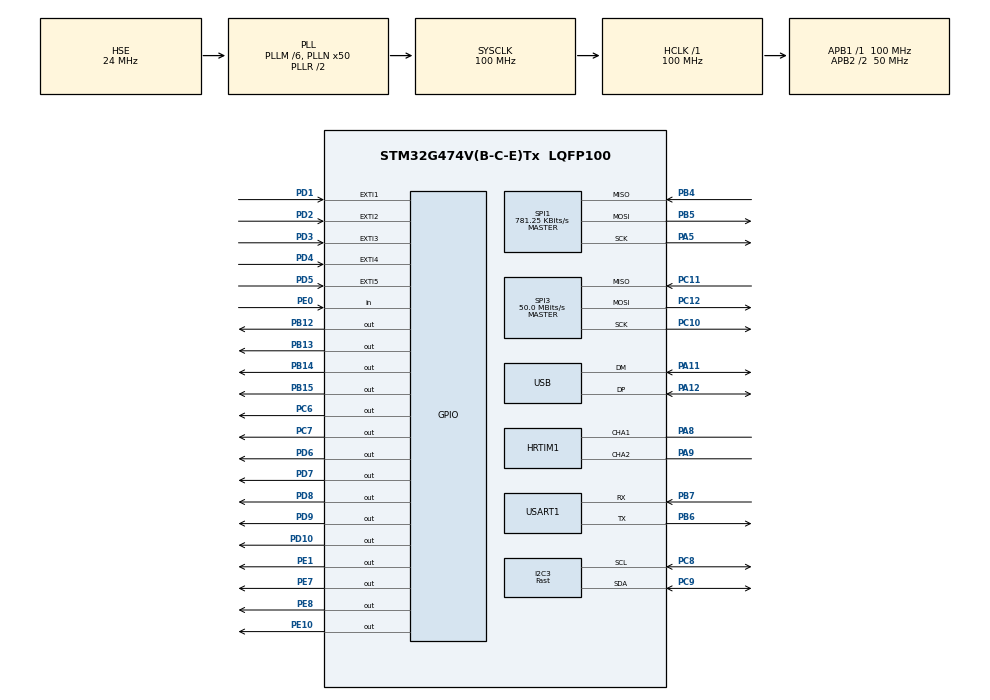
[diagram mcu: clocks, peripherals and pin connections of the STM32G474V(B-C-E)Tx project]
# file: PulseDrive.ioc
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Dma.I2C3_RX.0.Direction=DMA_PERIPH_TO_MEMORY
Dma.I2C3_RX.0.EventEnable=DISABLE
Dma.I2C3_RX.0.Instance=DMA1_Channel1
Dma.I2C3_RX.0.MemDataAlignment=DMA_MDATAALIGN_BYTE
Dma.I2C3_RX.0.MemInc=DMA_MINC_ENABLE
Dma.I2C3_RX.0.Mode=DMA_NORMAL
Dma.I2C3_RX.0.PeriphDataAlignment=DMA_PDATAALIGN_BYTE
Dma.I2C3_RX.0.PeriphInc=DMA_PINC_DISABLE
Dma.I2C3_RX.0.Polarity=HAL_DMAMUX_REQ_GEN_RISING
Dma.I2C3_RX.0.Priority=DMA_PRIORITY_LOW
Dma.I2C3_RX.0.RequestNumber=1
Dma.I2C3_RX.0.SignalID=NONE
Dma.I2C3_RX.0.SyncEnable=DISABLE
Dma.I2C3_RX.0.SyncPolarity=HAL_DMAMUX_SYNC_NO_EVENT
Dma.I2C3_RX.0.SyncRequestNumber=1
Dma.I2C3_RX.0.SyncSignalID=NONE
Dma.Request0=I2C3_RX
Dma.Request1=SPI3_RX
Dma.Request2=SPI1_RX
Dma.Request3=SPI1_TX
Dma.Request4=USART1_TX
Dma.Request5=SPI3_TX
Dma.SPI1_RX.2.Direction=DMA_PERIPH_TO_MEMORY
Dma.SPI1_RX.2.EventEnable=DISABLE
Dma.SPI1_RX.2.Instance=DMA1_Channel3
Dma.SPI1_RX.2.MemDataAlignment=DMA_MDATAALIGN_BYTE
Dma.SPI1_RX.2.MemInc=DMA_MINC_ENABLE
Dma.SPI1_RX.2.Mode=DMA_NORMAL
Dma.SPI1_RX.2.PeriphDataAlignment=DMA_PDATAALIGN_BYTE
Dma.SPI1_RX.2.PeriphInc=DMA_PINC_DISABLE
Dma.SPI1_RX.2.Polarity=HAL_DMAMUX_REQ_GEN_RISING
Dma.SPI1_RX.2.Priority=DMA_PRIORITY_MEDIUM
Dma.SPI1_RX.2.RequestNumber=1
Dma.SPI1_RX.2.SignalID=NONE
Dma.SPI1_RX.2.SyncEnable=DISABLE
Dma.SPI1_RX.2.SyncPolarity=HAL_DMAMUX_SYNC_NO_EVENT
Dma.SPI1_RX.2.SyncRequestNumber=1
Dma.SPI1_RX.2.SyncSignalID=NONE
Dma.SPI1_TX.3.Direction=DMA_MEMORY_TO_PERIPH
Dma.SPI1_TX.3.EventEnable=DISABLE
Dma.SPI1_TX.3.Instance=DMA1_Channel4
Dma.SPI1_TX.3.MemDataAlignment=DMA_MDATAALIGN_BYTE
Dma.SPI1_TX.3.MemInc=DMA_MINC_ENABLE
Dma.SPI1_TX.3.Mode=DMA_NORMAL
Dma.SPI1_TX.3.PeriphDataAlignment=DMA_PDATAALIGN_BYTE
Dma.SPI1_TX.3.PeriphInc=DMA_PINC_DISABLE
Dma.SPI1_TX.3.Polarity=HAL_DMAMUX_REQ_GEN_RISING
Dma.SPI1_TX.3.Priority=DMA_PRIORITY_MEDIUM
Dma.SPI1_TX.3.RequestNumber=1
Dma.SPI1_TX.3.SignalID=NONE
Dma.SPI1_TX.3.SyncEnable=DISABLE
Dma.SPI1_TX.3.SyncPolarity=HAL_DMAMUX_SYNC_NO_EVENT
Dma.SPI1_TX.3.SyncRequestNumber=1
Dma.SPI1_TX.3.SyncSignalID=NONE
Dma.SPI3_RX.1.Direction=DMA_PERIPH_TO_MEMORY
Dma.SPI3_RX.1.EventEnable=DISABLE
Dma.SPI3_RX.1.Instance=DMA1_Channel2
Dma.SPI3_RX.1.MemDataAlignment=DMA_MDATAALIGN_BYTE
Dma.SPI3_RX.1.MemInc=DMA_MINC_ENABLE
Dma.SPI3_RX.1.Mode=DMA_NORMAL
Dma.SPI3_RX.1.PeriphDataAlignment=DMA_PDATAALIGN_BYTE
Dma.SPI3_RX.1.PeriphInc=DMA_PINC_DISABLE
Dma.SPI3_RX.1.Polarity=HAL_DMAMUX_REQ_GEN_RISING
Dma.SPI3_RX.1.Priority=DMA_PRIORITY_VERY_HIGH
Dma.SPI3_RX.1.RequestNumber=1
Dma.SPI3_RX.1.SignalID=NONE
Dma.SPI3_RX.1.SyncEnable=DISABLE
Dma.SPI3_RX.1.SyncPolarity=HAL_DMAMUX_SYNC_NO_EVENT
Dma.SPI3_RX.1.SyncRequestNumber=1
Dma.SPI3_RX.1.SyncSignalID=NONE
Dma.SPI3_TX.5.Direction=DMA_MEMORY_TO_PERIPH
Dma.SPI3_TX.5.EventEnable=DISABLE
Dma.SPI3_TX.5.Instance=DMA1_Channel6
Dma.SPI3_TX.5.MemDataAlignment=DMA_MDATAALIGN_BYTE
Dma.SPI3_TX.5.MemInc=DMA_MINC_ENABLE
Dma.SPI3_TX.5.Mode=DMA_NORMAL
Dma.SPI3_TX.5.PeriphDataAlignment=DMA_PDATAALIGN_BYTE
Dma.SPI3_TX.5.PeriphInc=DMA_PINC_DISABLE
Dma.SPI3_TX.5.Polarity=HAL_DMAMUX_REQ_GEN_RISING
Dma.SPI3_TX.5.Priority=DMA_PRIORITY_LOW
Dma.SPI3_TX.5.RequestNumber=1
Dma.SPI3_TX.5.SignalID=NONE
Dma.SPI3_TX.5.SyncEnable=DISABLE
Dma.SPI3_TX.5.SyncPolarity=HAL_DMAMUX_SYNC_NO_EVENT
Dma.SPI3_TX.5.SyncRequestNumber=1
Dma.SPI3_TX.5.SyncSignalID=NONE
Dma.USART1_TX.4.Direction=DMA_MEMORY_TO_PERIPH
Dma.USART1_TX.4.EventEnable=DISABLE
Dma.USART1_TX.4.Instance=DMA1_Channel5
Dma.USART1_TX.4.MemDataAlignment=DMA_MDATAALIGN_BYTE
Dma.USART1_TX.4.MemInc=DMA_MINC_ENABLE
Dma.USART1_TX.4.Mode=DMA_NORMAL
Dma.USART1_TX.4.PeriphDataAlignment=DMA_PDATAALIGN_BYTE
Dma.USART1_TX.4.PeriphInc=DMA_PINC_DISABLE
Dma.USART1_TX.4.Polarity=HAL_DMAMUX_REQ_GEN_RISING
Dma.USART1_TX.4.Priority=DMA_PRIORITY_LOW
Dma.USART1_TX.4.RequestNumber=1
Dma.USART1_TX.4.SignalID=NONE
Dma.USART1_TX.4.SyncEnable=DISABLE
Dma.USART1_TX.4.SyncPolarity=HAL_DMAMUX_SYNC_NO_EVENT
Dma.USART1_TX.4.SyncRequestNumber=1
Dma.USART1_TX.4.SyncSignalID=NONE
HRTIM1.CompareUnit1-MasterTimer=HRTIM_COMPAREUNIT_1
HRTIM1.CompareUnit1-Output_TA1TA2=HRTIM_COMPAREUNIT_1
HRTIM1.CompareUnit2-MasterTimer=HRTIM_COMPAREUNIT_2
HRTIM1.CompareUnit2-Output_TA1TA2=HRTIM_COMPAREUNIT_2
HRTIM1.CompareUnit3-MasterTimer=HRTIM_COMPAREUNIT_3
HRTIM1.CompareUnit3-Output_TA1TA2=HRTIM_COMPAREUNIT_3
HRTIM1.CompareUnit4-MasterTimer=HRTIM_COMPAREUNIT_4
HRTIM1.CompareUnit4-Output_TA1TA2=HRTIM_COMPAREUNIT_4
HRTIM1.CompareValue1-MasterTimer=1
HRTIM1.CompareValue1-Output_TA1TA2=150
HRTIM1.CompareValue2-MasterTimer=200
HRTIM1.CompareValue2-Output_TA1TA2=1550
HRTIM1.CompareValue3-MasterTimer=28500
HRTIM1.CompareValue3-Output_TA1TA2=1700
HRTIM1.CompareValue4-MasterTimer=30001
HRTIM1.CompareValue4-Output_TA1TA2=3100
HRTIM1.EnableCalibration=NoDLLCalibration
HRTIM1.Event_EEV2=__NULL
HRTIM1.Event_EEV3=__NULL
HRTIM1.InterruptRequests1_Master=HRTIM_MASTER_IT_MCMP4
HRTIM1.ModeTimeBase-MasterTimer=HRTIM_MODE_SINGLESHOT_RETRIGGERABLE
HRTIM1.ModeTimeBase-Output_TA1TA2=HRTIM_MODE_SINGLESHOT_RETRIGGERABLE
HRTIM1.NumberInterruptRequests-Output_TA1TA2=0
HRTIM1.NumberInterruptRequests_Master-MasterTimer=1
HRTIM1.NumberResetSource1-Output_TA1TA2=1
HRTIM1.NumberResetSource2_TA=3
HRTIM1.NumberResetTrigger-Output_TA1TA2=2
HRTIM1.NumberSetSource1-Output_TA1TA2=1
HRTIM1.NumberSetSource2_TA=4
HRTIM1.NumberUpdateTrigger-Output_TA1TA2=0
HRTIM1.Periode_MASTER=30011
HRTIM1.Periode_TA=3250
HRTIM1.PreloadEnable-MasterTimer=HRTIM_PRELOAD_ENABLED
HRTIM1.PreloadEnable-Output_TA1TA2=HRTIM_PRELOAD_ENABLED
HRTIM1.PrescalerRatio_MASTER=HRTIM_PRESCALERRATIO_DIV4
HRTIM1.RepetitionCounter-Output_TA1TA2=0x00
HRTIM1.RepetitionUpdate-MasterTimer=HRTIM_UPDATEONREPETITION_ENABLED
HRTIM1.RepetitionUpdate-Output_TA1TA2=HRTIM_UPDATEONREPETITION_ENABLED
HRTIM1.ResetOnSync-MasterTimer=HRTIM_SYNCRESET_DISABLED
HRTIM1.ResetOutput1_Source1-Output_TA1TA2=HRTIM_OUTPUTRESET_MASTERCMP4
HRTIM1.ResetOutput2_Source1-Output_TA1TA2=HRTIM_OUTPUTRESET_TIMCMP1
HRTIM1.ResetOutput2_Source2-Output_TA1TA2=HRTIM_OUTPUTRESET_TIMCMP3
HRTIM1.ResetOutput2_Source3-Output_TA1TA2=HRTIM_OUTPUTRESET_TIMPER
HRTIM1.ResetTrigger1-Output_TA1TA2=HRTIM_TIMRESETTRIGGER_MASTER_CMP2
HRTIM1.ResetTrigger2-Output_TA1TA2=HRTIM_TIMRESETTRIGGER_MASTER_CMP3
HRTIM1.SetOutput1_Source1-Output_TA1TA2=HRTIM_OUTPUTSET_MASTERCMP1
HRTIM1.SetOutput2_Source1-Output_TA1TA2=HRTIM_OUTPUTSET_MASTERCMP2
HRTIM1.SetOutput2_Source2-Output_TA1TA2=HRTIM_OUTPUTSET_MASTERCMP3
HRTIM1.SetOutput2_Source3-Output_TA1TA2=HRTIM_OUTPUTSET_TIMCMP2
HRTIM1.SetOutput2_Source4-Output_TA1TA2=HRTIM_OUTPUTSET_TIMCMP4
HRTIM1.StartOnSync-MasterTimer=HRTIM_SYNCSTART_ENABLED
HRTIM1.SyncInputSource=HRTIM_SYNCINPUTSOURCE_INTERNALEVENT
HRTIM1.SyncOptions=HRTIM_SYNCOPTION_SLAVE
I2C3.I2C_Speed_Mode=I2C_Fast
I2C3.Timing=0x10911A50
Mcu.Family=STM32G4
Mcu.Name=STM32G474V(B-C-E)Tx
Mcu.Package=LQFP100
NVIC.DMA1_Channel1_IRQn=true\:2\:0\:true\:false\:true\:false\:true\:true
NVIC.DMA1_Channel2_IRQn=true\:1\:0\:true\:false\:true\:false\:true\:true
NVIC.DMA1_Channel3_IRQn=true\:2\:0\:true\:false\:true\:false\:true\:true
NVIC.DMA1_Channel4_IRQn=true\:2\:0\:true\:false\:true\:false\:true\:true
NVIC.DMA1_Channel5_IRQn=true\:5\:0\:true\:false\:true\:false\:true\:true
NVIC.DMA1_Channel6_IRQn=true\:0\:0\:false\:false\:true\:false\:true\:true
NVIC.HRTIM1_Master_IRQn=true\:1\:0\:false\:false\:true\:true\:true\:true
NVIC.HRTIM1_TIMA_IRQn=true\:1\:0\:false\:false\:true\:true\:true\:true
NVIC.I2C3_EV_IRQn=true\:2\:0\:true\:false\:true\:true\:true\:true
NVIC.PriorityGroup=NVIC_PRIORITYGROUP_4
NVIC.TIM1_UP_TIM16_IRQn=true\:0\:0\:true\:false\:true\:true\:true\:true
NVIC.USART1_IRQn=true\:3\:0\:true\:false\:true\:true\:true\:true
NVIC.USB_LP_IRQn=true\:5\:0\:true\:false\:true\:false\:true\:true
PA11.Mode=Device
PA11.Signal=USB_DM
PA12.Mode=Device
PA12.Signal=USB_DP
PA13.Mode=Serial_Wire
PA13.Signal=SYS_JTMS-SWDIO
PA14.Mode=Serial_Wire
PA14.Signal=SYS_JTCK-SWCLK
PA5.Mode=Full_Duplex_Master
PA5.Signal=SPI1_SCK
PA8.Mode=Output_TA1TA2
PA8.Signal=HRTIM1_CHA1
PA9.Mode=Output_TA1TA2
PA9.Signal=HRTIM1_CHA2
PB12.Signal=GPIO_Output
PB13.Signal=GPIO_Output
PB14.Signal=GPIO_Output
PB15.Signal=GPIO_Output
PB3.Signal=SYS_JTDO-SWO
PB4.Mode=Full_Duplex_Master
PB4.Signal=SPI1_MISO
PB5.Mode=Full_Duplex_Master
PB5.Signal=SPI1_MOSI
PB6.Mode=Asynchronous
PB6.Signal=USART1_TX
PB7.Mode=Asynchronous
PB7.Signal=USART1_RX
PC10.GPIO_Speed=GPIO_SPEED_FREQ_VERY_HIGH
PC10.Mode=Full_Duplex_Master
PC10.Signal=SPI3_SCK
PC11.GPIO_Speed=GPIO_SPEED_FREQ_VERY_HIGH
PC11.Mode=Full_Duplex_Master
PC11.Signal=SPI3_MISO
PC12.GPIO_Speed=GPIO_SPEED_FREQ_VERY_HIGH
PC12.Mode=Full_Duplex_Master
PC12.Signal=SPI3_MOSI
PC14-OSC32_IN.Mode=LSE-External-Clock-Source
PC14-OSC32_IN.Signal=RCC_OSC32_IN
PC6.Signal=GPIO_Output
PC7.Signal=GPIO_Output
PC8.Mode=I2C
PC8.Signal=I2C3_SCL
PC9.Mode=I2C
PC9.Signal=I2C3_SDA
PD1.Signal=GPXTI1
PD10.Signal=GPIO_Output
PD2.Signal=GPXTI2
PD3.Signal=GPXTI3
PD4.Signal=GPXTI4
PD5.Signal=GPXTI5
PD6.PinState=GPIO_PIN_SET
PD6.Signal=GPIO_Output
PD7.PinState=GPIO_PIN_SET
PD7.Signal=GPIO_Output
PD8.Signal=GPIO_Output
PD9.Signal=GPIO_Output
PE0.Signal=GPIO_Input
PE1.PinState=GPIO_PIN_SET
PE1.Signal=GPIO_Output
PE10.Signal=GPIO_Output
PE7.Signal=GPIO_Output
PE8.Signal=GPIO_Output
PF0-OSC_IN.Mode=HSE-External-Clock-Source
PF0-OSC_IN.Signal=RCC_OSC_IN
ProjectManager.HeapSize=0x200
ProjectManager.StackSize=0x400
ProjectManager.TargetToolchain=CMake
RCC.ADC12Freq_Value=100000000
RCC.ADC345Freq_Value=100000000
RCC.AHBFreq_Value=100000000
RCC.APB1Freq_Value=100000000
RCC.APB1TimFreq_Value=100000000
RCC.APB2CLKDivider=RCC_HCLK_DIV2
RCC.APB2Freq_Value=50000000
RCC.APB2TimFreq_Value=100000000
RCC.CK48CLockSelection=RCC_USBCLKSOURCE_HSI48
RCC.CortexFreq_Value=100000000
RCC.EXTERNAL_CLOCK_VALUE=12288000
RCC.HCLKFreq_Value=100000000
RCC.HSE_VALUE=24000000
RCC.HSI48_VALUE=48000000
RCC.HSI_VALUE=16000000
RCC.LSE_VALUE=32768
RCC.PLLM=RCC_PLLM_DIV6
RCC.PLLN=50
RCC.PLLQ=RCC_PLLQ_DIV6
RCC.PLLSourceVirtual=RCC_PLLSOURCE_HSE
RCC.SYSCLKFreq_VALUE=100000000
RCC.SYSCLKSource=RCC_SYSCLKSOURCE_PLLCLK
RCC.USBFreq_Value=48000000
RCC.VCOOutputFreq_Value=200000000
SPI1.BaudRatePrescaler=SPI_BAUDRATEPRESCALER_64
SPI1.CLKPhase=SPI_PHASE_2EDGE
SPI1.CLKPolarity=SPI_POLARITY_HIGH
SPI1.CalculateBaudRate=781.25 KBits/s
SPI1.DataSize=SPI_DATASIZE_8BIT
SPI1.Direction=SPI_DIRECTION_2LINES
SPI1.Mode=SPI_MODE_MASTER
SPI1.VirtualType=VM_MASTER
SPI3.BaudRatePrescaler=SPI_BAUDRATEPRESCALER_2
SPI3.CalculateBaudRate=50.0 MBits/s
SPI3.DataSize=SPI_DATASIZE_8BIT
SPI3.Direction=SPI_DIRECTION_2LINES
SPI3.Mode=SPI_MODE_MASTER
SPI3.VirtualType=VM_MASTER
TIM1.PeriodNoDither=2499
TIM1.Prescaler=99
TIM1.TIM_MasterOutputTrigger=TIM_TRGO_UPDATE
TIM1.TIM_MasterOutputTrigger2=TIM_TRGO2_UPDATE
USART1.VirtualMode-Asynchronous=VM_ASYNC
USB_DEVICE.CLASS_NAME_FS=CDC
USB_DEVICE.VirtualMode=Cdc
USB_DEVICE.VirtualModeFS=Cdc_FS
VP_HRTIM1_VS_hrtimMasterTimerNoOutput.Mode=MasterTimer
VP_SYS_VS_DBSignals.Mode=DisableDeadBatterySignals
VP_TIM1_VS_ClockSourceINT.Mode=Internal
VP_USB_DEVICE_VS_USB_DEVICE_CDC_FS.Mode=CDC_FS
board=custom

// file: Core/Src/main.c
/* USER CODE BEGIN Header */
/**
  ******************************************************************************
  * @file           : main.c
  * @brief          : Main program body
  ******************************************************************************
  * @attention
  *
  * Copyright (c) 2026 STMicroelectronics.
  * All rights reserved.
  *
  * This software is licensed under terms that can be found in the LICENSE file
  * in the root directory of this software component.
  * If no LICENSE file comes with this software, it is provided AS-IS.
  *
  ******************************************************************************
  */
/* USER CODE END Header */
#include "main.h"
#include "dma.h"
#include "hrtim.h"
#include "i2c.h"
#include "spi.h"
#include "tim.h"
#include "usart.h"
#include "gpio.h"

/* USER CODE BEGIN Includes */
#include "AD4007.h"
#include "TMUX1108.h"
#include "ble_comm.h"
#include "ble.h"
/*
 * 传感器驱动与发送协议：
 * - MAX30101: PPG 采样（I2C + IT/DMA）
 * - LSM9DS1 : MIMU 采样（SPI + DMA）
 * - ble_comm: 将 SensorDataFrame_t 打包为固定帧格式
 */
#include "MAX30101.h"
#include "sensor_ringbuffer.h"
#include "LSM9DS1.h"
#include <string.h>

/* USER CODE END Includes */

/* USER CODE BEGIN PD */
/* PPG disable switches: keep BLE frame layout, but force PPG payload to 0. */
#define APP_ENABLE_PPG_INIT                 (0U)
#define APP_ENABLE_PPG_SAMPLE               (0U)

/*
 * PPG 发光电流初始化（MAX30101，单位为寄存器码值，约 0.2mA/LSB）：
 * - Green 提升以增强绿光通道信号幅度
 * - Red/IR 维持较低电流用于抑制饱和
 */
#define PPG_INIT_GREEN_PA (0x8FU)
#define PPG_INIT_RED_PA   (0x24U)
#define PPG_INIT_IR_PA    (0x24U)

/*
 * BLE 参数帧固定长度（13字节）：
 * [0]=0xAB [1]=0xCD
 * [2]=PPG mode(01~03)
 * [3]=PPG multi sub-mode(01~05，仅 mode=01 有效)
 * [4]=Green 电流档位(00~09)
 * [5]=Red 电流档位(00~09)
 * [6]=IR 电流档位(00~09)
 * [7]=PPG ADC 量程(01~04)
 * [8]=PPG 脉宽(01~04)
 * [9]=Gyro 量程(01~03)
 * [10]=Accel 量程(01~04)
 * [11]=0xEF [12]=0xFA
 */
#define SENSOR_PARAM_FRAME_LEN                (13U)
/* 修改后禁发窗口：保留采样更新，但暂停发送 100 个大周期。 */
#define SENSOR_SEND_HOLD_CYCLES               (100U)

/* USER CODE END PD */

/* USER CODE BEGIN PV */
/* 4 相位状态机的当前相位（1~4），由 HRTIM Master CMP4 事件推进。 */
static volatile uint8_t g_tim_group_phase = 1U;
/* 一组 4 相位结束后由 ISR 置位，主循环据此提交并发送融合帧。 */
static volatile uint8_t g_group_frame_ready_for_send = 0U;

/* 本相位周期内下一个可用采样槽位。 */
static volatile uint8_t g_adc_pulse_start_index = 0U;
/* 本相位 6 个原始 slot 及有效位，相位结束时归并为 early/late 均值。 */
static int32_t g_adc_slot_codes[6] = {0};
static uint8_t g_adc_slot_valid_mask = 0U;

/* 当前正在构建的组帧（4 相位内持续填充）。 */
static SensorDataFrame_t g_group_frame = {0};
/* 主循环待发送帧（一帧延迟发送策略）。 */
static SensorDataFrame_t g_ble_send_frame = {0};
static uint8_t g_ble_send_pending = 0U;
/* 邻帧补零策略使用的历史帧缓存。 */
static SensorDataFrame_t g_tx_prev_frame = {0};
static SensorDataFrame_t g_tx_prev_prev_frame = {0};
static uint8_t g_tx_prev_valid = 0U;
static uint8_t g_tx_prev_prev_valid = 0U;

/*
 * 当前生效数据通路：
 * ISR 生产者：MAX30101/LSM9DS1 DMA 回调 -> RingBuffer_Push()
 * 主循环消费者：RingBuffer_Pop() -> 融合到当前大周期帧 -> BLE_PackSingleFrame() -> BLE UART DMA
 */
static SensorRingBuffer_t g_sensor_rb;
/* 主协议帧缓存。 */
static uint8_t g_ble_frame[BLE_COMM_SINGLE_FRAME_SIZE];

/* 统计每组融合帧中 PPG/MIMU 是否缺失，用于链路健康度评估。 */
static uint32_t g_group_total_count = 0U;
static uint32_t g_group_miss_ppg_count = 0U;
static uint32_t g_group_miss_imu_count = 0U;

/* BLE 串口 DMA 接收缓存：用于上位机->USART1 的透传链路。 */
static uint8_t g_ble_uart_rx_dma_buf[BLE_RX_FRAME_MAX_LEN] = {0};
/* 主循环参数解析缓冲（与 DMA 接收缓存分离，避免覆盖竞争）。 */
static uint8_t g_ble_rx_parse_buf[BLE_RX_FRAME_MAX_LEN] = {0};

/* 单片机当前生效传感参数数组（协议格式与上位机一致）。 */
static volatile uint8_t g_sensor_param_array[SENSOR_PARAM_FRAME_LEN] = {
  0xABU, 0xCDU,
  0x01U, /* mode: Multi-LED */
  0x01U, /* multimode: G-R-IR */
  0x05U, /* green level */
  0x01U, /* red level */
  0x01U, /* ir level */
  0x03U, /* ADC range: 8192nA */
  0x03U, /* pulse width: 215us */
  0x02U, /* gyro FS: +-500dps */
  0x01U, /* accel FS: +-2g */
  0xEFU, 0xFAU
};

/*
 * 参数下发状态位说明：
 * g_sensor_param_pending:
 *   主循环已收到并通过校验，等待在 phase1/phase2 写入传感器。
 * g_sensor_cfg_apply_cycle_active:
 *   “配置应用周期”标志。置位后，该大周期不采集、不发送，整帧记0。
 * g_sensor_drop_pipeline_once:
 *   清空一帧延迟发送流水线，避免配置切换前的历史帧被发出。
 * g_sensor_send_hold_countdown:
 *   配置完成后继续禁发 N 周期，期间仍正常采样并刷新缓存。
 * g_sensor_cfg_apply_error:
 *   记录本轮配置是否发生寄存器写失败（保留供后续扩展上报）。
 */
static volatile uint8_t g_sensor_param_pending = 0U;
static uint8_t g_sensor_param_pending_buf[SENSOR_PARAM_FRAME_LEN] = {0};
static volatile uint8_t g_sensor_cfg_apply_cycle_active = 0U;
static volatile uint8_t g_sensor_cfg_apply_error = 0U;
static volatile uint8_t g_sensor_drop_pipeline_once = 0U;
static volatile uint16_t g_sensor_send_hold_countdown = 0U;
/* 每秒自检发送逻辑已停用，保留旧定义便于回滚。 */
#if 0
static const uint8_t g_check_ble_text[] = "[SYS->BLE] check\r\n";
static const uint8_t g_check_usb_text[] = "[SYS->USB] check\r\n";
static uint32_t g_last_check_tick_ms = 0U;
#endif

/* USER CODE END PV */

void SystemClock_Config(void);

/* USER CODE BEGIN 0 */
/* 根据 4 相位状态机选择三路 TMUX 开关组合，驱动桥臂切换。 */
static void Bridge_ApplyState(uint8_t phase)
{
  switch (phase)
  {
    case 1U:
      TMUX_KB_SetChannel(TMUX_CH_S5);
      TMUX_KH_SetChannel(TMUX_CH_S7);
      TMUX_KL_SetChannel(TMUX_CH_S1);
      break;

    case 2U:
      TMUX_KB_SetChannel(TMUX_CH_S6);
      TMUX_KH_SetChannel(TMUX_CH_S6);
      TMUX_KL_SetChannel(TMUX_CH_S5);
      break;

    case 3U:
      TMUX_KB_SetChannel(TMUX_CH_S7);
      TMUX_KH_SetChannel(TMUX_CH_S5);
      TMUX_KL_SetChannel(TMUX_CH_S6);
      break;

    case 4U:
    default:
      TMUX_KB_SetChannel(TMUX_CH_S8);
      TMUX_KH_SetChannel(TMUX_CH_S1);
      TMUX_KL_SetChannel(TMUX_CH_S7);
      break;
  }
}

#if (APP_ENABLE_PPG_INIT != 0U)
/*
 * BLE 亮度档位(0..9)映射到 MAX30101 LED 电流寄存器码值(0..255)。
 * 采用线性映射：level=0 -> 0x00，level=9 -> 0xFF。
 * 映射后典型电流近似 I_LED ~= reg * 0.2mA。
 */
static uint8_t SensorParam_LevelToLedCurrentCode(uint8_t level)
{
  if (level > 9U)
  {
    level = 9U;
  }

  return (uint8_t)(((uint16_t)level * 255U + 4U) / 9U);
}

/*
 * 判断当前是否“单色光”配置：
 * - mode=0x02(HR) 固定单色（Red）
 * - mode=0x01(Multi) 且 sub-mode=02/03/04 时为单色（G/R/IR 单路）
 */
static uint8_t SensorParam_IsSingleColor(const uint8_t *params)
{
  if (params == NULL)
  {
    return 0U;
  }

  if (params[2] == 0x02U)
  {
    return 1U;
  }

  if ((params[2] == 0x01U) &&
      ((params[3] == 0x02U) || (params[3] == 0x03U) || (params[3] == 0x04U)))
  {
    return 1U;
  }

  return 0U;
}

/*
 * 按协议脉宽索引映射 SR 与 SMP_AVE：
 * - 单色：
 *   69us -> 3200sps + 32x
 *   118us/215us -> 1600sps + 16x
 *   411us -> 800sps + 8x
 * - 多色（双色/三色）：
 *   69/118/215us -> 400sps + 4x
 *   411us -> 200sps + 2x
 */
static uint8_t SensorParam_GetPPGTimingCodes(uint8_t pulse_sel,
                                             uint8_t is_single_color,
                                             uint8_t *out_sr_code,
                                             uint8_t *out_smp_ave_code)
{
  if ((out_sr_code == NULL) || (out_smp_ave_code == NULL))
  {
    return 0U;
  }

  switch (pulse_sel)
  {
    case 0x01U:
      if (is_single_color != 0U)
      {
        *out_sr_code = 0x07U;  /* 3200sps */
        *out_smp_ave_code = 0x05U; /* 32x */
      }
      else
      {
        *out_sr_code = 0x03U;  /* 400sps */
        *out_smp_ave_code = 0x02U; /* 4x */
      }
      break;

    case 0x02U:
      if (is_single_color != 0U)
      {
        *out_sr_code = 0x06U;  /* 1600sps */
        *out_smp_ave_code = 0x04U; /* 16x */
      }
      else
      {
        *out_sr_code = 0x03U;  /* 400sps */
        *out_smp_ave_code = 0x02U; /* 4x */
      }
      break;

    case 0x03U:
      if (is_single_color != 0U)
      {
        *out_sr_code = 0x06U;  /* 1600sps */
        *out_smp_ave_code = 0x04U; /* 16x */
      }
      else
      {
        *out_sr_code = 0x03U;  /* 400sps */
        *out_smp_ave_code = 0x02U; /* 4x */
      }
      break;

    case 0x04U:
      if (is_single_color != 0U)
      {
        *out_sr_code = 0x04U;  /* 800sps */
        *out_smp_ave_code = 0x03U; /* 8x */
      }
      else
      {
        *out_sr_code = 0x02U;  /* 200sps */
        *out_smp_ave_code = 0x01U; /* 2x */
      }
      break;

    default:
      return 0U;
  }

  return 1U;
}

/*
 * 把协议参数应用到 MAX30101：
 * 1) 先根据 mode/sub-mode 判断单色或多色，得到 SR/平均值组合。
 * 2) 把 00~09 的亮度档位换算到 LED 寄存器码值。
 * 3) 把协议中 01 基索引转换为寄存器字段 00 基编码。
 * 4) 调用驱动统一入口写寄存器与更新解码档位。
 */
static uint8_t SensorParam_ApplyPPG(const uint8_t *params)
{
  uint8_t sr_code;
  uint8_t smp_ave_code;
  uint8_t is_single_color;
  uint8_t green_current;
  uint8_t red_current;
  uint8_t ir_current;
  uint8_t adc_rge_code;
  uint8_t led_pw_code;

  if (params == NULL)
  {
    return 0U;
  }

  is_single_color = SensorParam_IsSingleColor(params);
  if (SensorParam_GetPPGTimingCodes(params[8], is_single_color, &sr_code, &smp_ave_code) == 0U)
  {
    return 0U;
  }

  green_current = SensorParam_LevelToLedCurrentCode(params[4]);
  red_current = SensorParam_LevelToLedCurrentCode(params[5]);
  ir_current = SensorParam_LevelToLedCurrentCode(params[6]);

  adc_rge_code = (uint8_t)(params[7] - 1U);
  led_pw_code = (uint8_t)(params[8] - 1U);

  return MAX30101_ApplyBleParamConfig(params[2],
                                      params[3],
                                      green_current,
                                      red_current,
                                      ir_current,
                                      adc_rge_code,
                                      led_pw_code,
                                      sr_code,
                                      smp_ave_code);
}
#endif

/*
 * 把协议参数应用到 LSM9DS1：
 * - 只改 FS（量程）位，不改 ODR/BW/滤波链路。
 * - 通过驱动层 LSM9DS1_SetFullScale() 执行原子更新。
 */
static HAL_StatusTypeDef SensorParam_ApplyIMU(const uint8_t *params)
{
  uint8_t gyro_fs;
  uint8_t accel_fs;

  if (params == NULL)
  {
    return HAL_ERROR;
  }

  switch (params[9])
  {
    case 0x01U:
      gyro_fs = LSM9DS1_GYRO_FS_245DPS;
      break;
    case 0x02U:
      gyro_fs = LSM9DS1_GYRO_FS_500DPS;
      break;
    case 0x03U:
      gyro_fs = LSM9DS1_GYRO_FS_2000DPS;
      break;
    default:
      return HAL_ERROR;
  }

  switch (params[10])
  {
    case 0x01U:
      accel_fs = LSM9DS1_ACCEL_FS_2G;
      break;
    case 0x02U:
      accel_fs = LSM9DS1_ACCEL_FS_4G;
      break;
    case 0x03U:
      accel_fs = LSM9DS1_ACCEL_FS_8G;
      break;
    case 0x04U:
      accel_fs = LSM9DS1_ACCEL_FS_16G;
      break;
    default:
      return HAL_ERROR;
  }

  return LSM9DS1_SetFullScale(accel_fs, gyro_fs);
}

/*
 * 从 UART DMA 字节流中提取并校验 13 字节参数帧：
 * - 允许在长串流中滑窗查找 AB CD ... EF FA。
 * - 逐字段做范围校验，过滤噪声帧/半包。
 * - 非 Multi 模式时，sub-mode 固定要求 0x01（保留位语义一致）。
 */
static uint8_t SensorParam_ParseFrame(const uint8_t *rx, uint16_t rx_len, uint8_t out_params[SENSOR_PARAM_FRAME_LEN])
{
  uint16_t i;
  const uint8_t *frm;

  if ((rx == NULL) || (out_params == NULL) || (rx_len < SENSOR_PARAM_FRAME_LEN))
  {
    return 0U;
  }

  for (i = 0U; i <= (uint16_t)(rx_len - SENSOR_PARAM_FRAME_LEN); i++)
  {
    if ((rx[i] == 0xABU) &&
      (rx[i + 1U] == 0xCDU) &&
        (rx[i + 11U] == 0xEFU) &&
        (rx[i + 12U] == 0xFAU))
    {
      frm = &rx[i];

      if ((frm[2] < 0x01U) || (frm[2] > 0x03U))
      {
        continue;
      }
      if ((frm[3] < 0x01U) || (frm[3] > 0x05U))
      {
        continue;
      }
      if ((frm[4] > 0x09U) || (frm[5] > 0x09U) || (frm[6] > 0x09U))
      {
        continue;
      }
      if ((frm[7] < 0x01U) || (frm[7] > 0x04U))
      {
        continue;
      }
      if ((frm[8] < 0x01U) || (frm[8] > 0x04U))
      {
        continue;
      }
      if ((frm[9] < 0x01U) || (frm[9] > 0x03U))
      {
        continue;
      }
      if ((frm[10] < 0x01U) || (frm[10] > 0x04U))
      {
        continue;
      }
      if ((frm[2] != 0x01U) && (frm[3] != 0x01U))
      {
        /* 非 Multi 模式时，子模式字段必须保持 0x01。 */
        continue;
      }

      (void)memcpy(out_params, frm, SENSOR_PARAM_FRAME_LEN);
      return 1U;
    }
  }

  return 0U;
}

/*
 * 写入参数时采用短临界区：
 * - 主循环解析与 HRTIM 回调可能并发访问 pending buffer。
 * - 通过关中断保证 13 字节数组与 pending 标记一致更新。
 */
static void SensorParam_QueueFromBleRx(const uint8_t *rx, uint16_t rx_len)
{
  uint8_t parsed[SENSOR_PARAM_FRAME_LEN] = {0};

  if (SensorParam_ParseFrame(rx, rx_len, parsed) == 0U)
  {
    return;
  }

  __disable_irq();
  (void)memcpy((void *)g_sensor_param_array, parsed, SENSOR_PARAM_FRAME_LEN);
  (void)memcpy(g_sensor_param_pending_buf, parsed, SENSOR_PARAM_FRAME_LEN);
  g_sensor_param_pending = 1U;
  __enable_irq();
}

/*
 * 清空环形缓冲区：
 * 配置切换周期需要“整帧记0且不发送”，
 * 因此必须丢弃切换前残留的 PPG/MIMU 片段，防止跨配置污染。
 */
static void Sensor_DrainRingBuffer(SensorRingBuffer_t *rb)
{
  SensorDataFrame_t dummy;

  if (rb == NULL)
  {
    return;
  }

  while (RingBuffer_Pop(rb, &dummy))
  {
  }
}

/* 清空“单相位”内 ADC 采样窗口，为下一相位 3+3 脉冲采样做准备。 */
static void ADC_ResetCycleAccumulator(void)
{
  g_adc_pulse_start_index = 0U;
  g_adc_slot_valid_mask = 0U;
  (void)memset(g_adc_slot_codes, 0, sizeof(g_adc_slot_codes));
}

/*
 * 在每个相位结束时：
 * 1) 轮转桥臂到下一个相位；
 * 2) 复位相位内采样窗口。
 */
static void ADC_FinalizeStateAndRotateBridge(void)
{
  uint8_t state_index = (uint8_t)(g_tim_group_phase - 1U);
  int32_t early_avg = 0;
  int32_t late_avg = 0;

  if (state_index < 4U)
  {
    (void)AD4007_AverageValidSlots(g_adc_slot_codes,
                                   g_adc_slot_valid_mask,
                                   0U,
                                   3U,
                                   &early_avg);
    (void)AD4007_AverageValidSlots(g_adc_slot_codes,
                                   g_adc_slot_valid_mask,
                                   3U,
                                   3U,
                                   &late_avg);
    g_group_frame.adc_data[state_index].early_code = early_avg;
    g_group_frame.adc_data[state_index].late_code = late_avg;
  }

  g_tim_group_phase++;
  if (g_tim_group_phase > 4U)
  {
    g_tim_group_phase = 1U;
  }

  Bridge_ApplyState(g_tim_group_phase);
  ADC_ResetCycleAccumulator();
}

/* 判断帧内是否包含有效 PPG 三通道数据。 */
static uint8_t FrameHasPPGPayload(const SensorDataFrame_t *frame)
{
  if ((frame->ppg_data[0] != 0U) || (frame->ppg_data[1] != 0U) || (frame->ppg_data[2] != 0U))
  {
    return 1U;
  }
  return 0U;
}

/* 判断帧内是否包含有效 IMU 六轴数据。 */
static uint8_t FrameHasIMUPayload(const SensorDataFrame_t *frame)
{
  if ((frame->imu_data[0] != 0) || (frame->imu_data[1] != 0) || (frame->imu_data[2] != 0) ||
      (frame->imu_data[3] != 0) || (frame->imu_data[4] != 0) || (frame->imu_data[5] != 0))
  {
    return 1U;
  }
  return 0U;
}

#if (APP_ENABLE_PPG_SAMPLE != 0U)
/* 若“待发送帧”PPG全0，则用前后帧PPG均值修复。 */
static void PatchZeroPPGWithNeighborAverage(SensorDataFrame_t *out_frame,
                                            const SensorDataFrame_t *prev_frame,
                                            const SensorDataFrame_t *next_frame)
{
  uint32_t sum;

  if ((out_frame == NULL) || (prev_frame == NULL) || (next_frame == NULL))
  {
    return;
  }

  if (FrameHasPPGPayload(out_frame) != 0U)
  {
    return;
  }

  sum = prev_frame->ppg_data[0] + next_frame->ppg_data[0];
  out_frame->ppg_data[0] = (sum >> 1);
  sum = prev_frame->ppg_data[1] + next_frame->ppg_data[1];
  out_frame->ppg_data[1] = (sum >> 1);
  sum = prev_frame->ppg_data[2] + next_frame->ppg_data[2];
  out_frame->ppg_data[2] = (sum >> 1);
}
#endif

/*
 * 从传感器环形缓冲区提取当前周期可用的最新片段帧：
 * - PPG 与 IMU 分别以“最后一次非零数据”为准覆盖到 g_group_frame；
 * - 若本周期缺失对应数据，则更新缺失计数。
 */
static void Sensor_IngestPartialFramesForCurrentGroup(void)
{
  SensorDataFrame_t frame = {0};
  uint16_t count_snapshot;
  uint16_t i;
  uint8_t got_ppg = 0U;
  uint8_t got_imu = 0U;

  count_snapshot = RingBuffer_GetCount(&g_sensor_rb);
  if (count_snapshot == 0U)
  {
    g_group_miss_ppg_count++;
    g_group_miss_imu_count++;
    return;
  }

  for (i = 0U; i < count_snapshot; i++)
  {
    if (!RingBuffer_Pop(&g_sensor_rb, &frame))
    {
      break;
    }

    if (FrameHasPPGPayload(&frame) != 0U)
    {
      g_group_frame.ppg_data[0] = frame.ppg_data[0];
      g_group_frame.ppg_data[1] = frame.ppg_data[1];
      g_group_frame.ppg_data[2] = frame.ppg_data[2];
      got_ppg = 1U;
    }

    if (FrameHasIMUPayload(&frame) != 0U)
    {
      g_group_frame.imu_data[0] = frame.imu_data[0];
      g_group_frame.imu_data[1] = frame.imu_data[1];
      g_group_frame.imu_data[2] = frame.imu_data[2];
      g_group_frame.imu_data[3] = frame.imu_data[3];
      g_group_frame.imu_data[4] = frame.imu_data[4];
      g_group_frame.imu_data[5] = frame.imu_data[5];
      got_imu = 1U;
    }
  }

  if (got_ppg == 0U)
  {
    g_group_miss_ppg_count++;
  }
  if (got_imu == 0U)
  {
    g_group_miss_imu_count++;
  }
}

/*
 * 提交当前组帧并维护一帧延迟发送管线：
 * - 当前周期只提交，不直接发送；
 * - 真正发送的是上一个周期帧（可做邻帧补零）；
 * - 提交后立即清空当前组帧，进入下一周期。
 */
static void PrepareAndCommitGroupFrame(void)
{
  uint8_t committed = 0U;

  /* UART DMA 忙时不推进缓存，避免丢失“上一帧发送”时序关系。 */
  if (g_ble_send_pending != 0U)
  {
    return;
  }

  if (g_sensor_drop_pipeline_once != 0U)
  {
    /*
     * 一次性丢弃发送流水线：
     * - 清 pending 发送与 prev/prev_prev 缓存
     * - 清 ringbuffer 中旧参数残留片段
     */
    __disable_irq();
    g_ble_send_pending = 0U;
    g_tx_prev_valid = 0U;
    g_tx_prev_prev_valid = 0U;
    __enable_irq();

    Sensor_DrainRingBuffer(&g_sensor_rb);
    (void)memset(&g_tx_prev_frame, 0, sizeof(g_tx_prev_frame));
    (void)memset(&g_tx_prev_prev_frame, 0, sizeof(g_tx_prev_prev_frame));
    g_sensor_drop_pipeline_once = 0U;
  }

  if (g_sensor_cfg_apply_cycle_active == 0U)
  {
    Sensor_IngestPartialFramesForCurrentGroup();
  }
  else
  {
    /* 配置应用周期内，本组帧强制全零。 */
    (void)memset(&g_group_frame, 0, sizeof(g_group_frame));
  }

  __disable_irq();

  /* 一帧延迟发送：当前周期到来时发送上一周期缓存；禁发窗口内跳过。 */
  if ((g_tx_prev_valid != 0U) && (g_sensor_send_hold_countdown == 0U))
  {
    g_ble_send_frame = g_tx_prev_frame;
#if (APP_ENABLE_PPG_SAMPLE != 0U)
    if (g_tx_prev_prev_valid != 0U)
    {
      PatchZeroPPGWithNeighborAverage(&g_ble_send_frame, &g_tx_prev_prev_frame, &g_group_frame);
    }
#else
    g_ble_send_frame.ppg_data[0] = 0U;
    g_ble_send_frame.ppg_data[1] = 0U;
    g_ble_send_frame.ppg_data[2] = 0U;
#endif
    g_ble_send_pending = 1U;
  }

  g_tx_prev_prev_frame = g_tx_prev_frame;
  g_tx_prev_prev_valid = g_tx_prev_valid;
  g_tx_prev_frame = g_group_frame;
  g_tx_prev_valid = 1U;

  committed = 1U;
  __enable_irq();

  if (committed != 0U)
  {
    (void)memset(&g_group_frame, 0, sizeof(g_group_frame));
    g_group_total_count++;
    g_group_frame_ready_for_send = 0U;
    if (g_sensor_cfg_apply_cycle_active != 0U)
    {
      /* 配置应用周期在“提交点”自动退出。 */
      g_sensor_cfg_apply_cycle_active = 0U;
    }
    else if (g_sensor_send_hold_countdown > 0U)
    {
      /* 后续周期按 1/group 递减禁发计数。 */
      g_sensor_send_hold_countdown--;
    }
  }
}

/*
 * 程序总体用途（当前生效版本）：
 * 1) 启用 TIM1(400Hz) -> HRTIM 同步的 4 状态机。
 * 2) 在每次状态周期中由 TimerA Output2 产生 3+3 个 CNV 脉冲，并在 reset 边沿触发 AD4007 SPI+DMA 读取。
 * 3) 状态机1/2在 Master CMP4 分别触发 PPG/MIMU DMA 读取并写入 ringbuffer。
 * 4) 状态机4完成后融合为单帧，通过 BLE 协议格式发送（包含 4 组 ADC early/late）。
 */

/* USER CODE END 0 */

int main(void)
{

  /* MCU Configuration--------------------------------------------------------*/

  /* Reset of all peripherals, Initializes the Flash interface and the Systick. */
  HAL_Init();

  /* Configure the system clock */
  SystemClock_Config();

  /* Initialize all configured peripherals */
  /*
   * 下方为 CubeMX 默认生成的外设初始化调用清单。
   * 真实启用顺序在 USER CODE BEGIN 2 内按当前调试架构手动安排。
   */
  // MX_GPIO_Init();
  // MX_DMA_Init();
  // MX_HRTIM1_Init();
  // MX_I2C3_Init();
  // MX_SPI1_Init();
  // MX_SPI3_Init();
  // MX_USART1_UART_Init();
  // MX_USB_Device_Init();
  // MX_TIM1_Init();
  /* USER CODE BEGIN 2 */
  /*
   * 当前生效流程（ADC + PPG/MIMU + BLE 帧发送）：
   * 1) 初始化 GPIO/DMA/I2C3/SPI1/SPI3/UART1/HRTIM/TIM1；
   * 2) BLE 初始化后，初始化 PPG/IMU 并绑定同一 ringbuffer；
   * 3) TIM1(400Hz) 驱动 4 相位状态机：phase1 触发 PPG，phase2 触发 MIMU，phase4 提交并发送；
   * 4) AD4007 每相位执行 3+3 脉冲采样，4 相位 early/late 结果汇入同一发送帧。
   */
  MX_GPIO_Init();
  MX_DMA_Init();
  MX_I2C3_Init();
  MX_SPI1_Init();
  MX_SPI3_Init();
  MX_USART1_UART_Init();
  // MX_USB_Device_Init();
  MX_HRTIM1_Init();
  MX_TIM1_Init();

  /* 阶段1：初始化模拟开关与统一 ringbuffer。 */
  TMUX_Global_Init();
  RingBuffer_Init(&g_sensor_rb);

  /*
   * 阶段2：传感器电源上电序列。
   * 必须按 E5V -> E3.3V -> E4V 顺序拉起，并预留稳定时间。
   */
  HAL_GPIO_WritePin(GPIOE, GPIO_PIN_7, GPIO_PIN_SET);
  HAL_Delay(50);
  HAL_GPIO_WritePin(GPIOE, GPIO_PIN_8, GPIO_PIN_SET);
  HAL_Delay(50);
  HAL_GPIO_WritePin(GPIOE, GPIO_PIN_10, GPIO_PIN_SET);
  HAL_Delay(50);

  /* 阶段3：建立 BLE 通道，作为主协议帧输出链路。 */
  if (BLE_Init() != HAL_OK)
  {
    Error_Handler();
  }

  /* 阶段4：绑定 PPG/MIMU 到同一 ringbuffer，统一交由主循环融合。 */
#if (APP_ENABLE_PPG_SAMPLE != 0U)
  MAX30101_AttachRingBuffer(&g_sensor_rb);
#endif
  LSM9DS1_AttachRingBuffer(&g_sensor_rb);

#if (APP_ENABLE_PPG_INIT != 0U)
  /* 阶段5：初始化 PPG，配置为三光路轮切。 */
  if (MAX30101_Init() == 0U)
  {
    Error_Handler();
  }

  /* 采用三光路轮切 + 4次平均 + 100Hz 等效输出。 */
  if (MAX30101_SetLEDMode(MAX30101_LED_MODE_MULTI_G_R_IR,
                          PPG_INIT_GREEN_PA,
                          PPG_INIT_RED_PA,
                          PPG_INIT_IR_PA,
                          0x03U,
                          0x02U) == 0U)
  {
    Error_Handler();
  }
#else
  /* 保留 PPG 初始化原本带来的启动等待，避免 ADC 模拟链路过早进入采样。 */
  HAL_Delay(100U);
#endif

  /* 阶段6：初始化 MIMU。 */
  if (LSM9DS1_Init() != HAL_OK)
  {
    Error_Handler();
  }

  /* 阶段7：初始化 AD4007，准备进入 HRTIM 驱动采样。 */
  if (AD4007_Init() != HAL_OK)
  {
    Error_Handler();
  }

  /* HRTIM采样开始前一次性确认SPI3已启用。 */
  if (AD4007_PrepareFastPath() != HAL_OK)
  {
    Error_Handler();
  }

  /* 阶段8：设置初始桥臂相位，并清空本轮采样累加器。 */
  g_tim_group_phase = 1U;
  Bridge_ApplyState(g_tim_group_phase);
  ADC_ResetCycleAccumulator();
  (void)memset(&g_group_frame, 0, sizeof(g_group_frame));
  (void)memset(&g_ble_send_frame, 0, sizeof(g_ble_send_frame));

  /* 启用 BLE RX DMA：用于持续接收上位机 13 字节参数配置帧。 */

  if (BLE_Start_Receive_DMA(g_ble_uart_rx_dma_buf, (uint16_t)sizeof(g_ble_uart_rx_dma_buf)) != HAL_OK)
  {
    Error_Handler();
  }

  /* 阶段9：启动 HRTIM 计数器与输出，进入硬件触发采样状态。 */
  if (HAL_HRTIM_WaveformCountStart_IT(&hhrtim1, HRTIM_TIMERID_MASTER | HRTIM_TIMERID_TIMER_A) != HAL_OK)
  {
    Error_Handler();
  }

  if (HAL_HRTIM_WaveformOutputStart(&hhrtim1, HRTIM_OUTPUT_TA1 | HRTIM_OUTPUT_TA2) != HAL_OK)
  {
    Error_Handler();
  }

  __HAL_HRTIM_MASTER_CLEAR_IT(&hhrtim1,
                              HRTIM_MASTER_IT_MCMP4 |
                              HRTIM_MASTER_IT_MUPD |
                              HRTIM_MASTER_IT_MREP |
                              HRTIM_MASTER_IT_SYNC);
  __HAL_HRTIM_TIMER_CLEAR_IT(&hhrtim1,
                             HRTIM_TIMERINDEX_TIMER_A,
                             HRTIM_TIM_IT_CMP1 |
                             HRTIM_TIM_IT_CMP3 |
                             HRTIM_TIM_IT_REP |
                             HRTIM_TIM_IT_RST2);

  NVIC_ClearPendingIRQ(HRTIM1_Master_IRQn);
  NVIC_ClearPendingIRQ(HRTIM1_TIMA_IRQn);

  __HAL_HRTIM_MASTER_ENABLE_IT(&hhrtim1, HRTIM_MASTER_IT_MCMP4);
  __HAL_HRTIM_TIMER_ENABLE_IT(&hhrtim1,
                              HRTIM_TIMERINDEX_TIMER_A,
                              HRTIM_TIM_IT_CMP1 |
                             HRTIM_TIM_IT_CMP3 |
                             HRTIM_TIM_IT_REP);

  HAL_NVIC_EnableIRQ(HRTIM1_Master_IRQn);
  HAL_NVIC_EnableIRQ(HRTIM1_TIMA_IRQn);

  if (HAL_TIM_Base_Start_IT(&htim1) != HAL_OK)
  {
    Error_Handler();
  }
  /* USER CODE END 2 */

  /* Infinite loop */
  while (1)
  {

    /* USER CODE BEGIN 3 */
    /*
     * 仅在 phase4 提交标志到来后执行一次组帧提交：
     * - 从 ringbuffer 合并本大周期最新 PPG/IMU
     * - 维护一帧延迟发送管线
     * - 根据禁发窗口决定是否产生 g_ble_send_pending
     */
    if (g_group_frame_ready_for_send != 0U)
    {
      PrepareAndCommitGroupFrame();
    }

    /*
     * 发送阶段与采样阶段解耦：
     * - 仅当上一帧已就绪且 UART DMA 空闲时发起发送
     * - 发送成功后清 pending；若串口忙则保持 pending 等下一轮
     */
    if (g_ble_send_pending != 0U)
    {
      BLE_PackSingleFrame(&g_ble_send_frame, g_ble_frame);
      if (BLE_Transmit_Data_DMA(g_ble_frame, BLE_COMM_SINGLE_FRAME_SIZE) == HAL_OK)
      {
        g_ble_send_pending = 0U;
      }
    }

    /*
     * BLE UART DMA 收到上位机参数后：
     * 1) 在主循环完成帧提取与格式校验（避免中断中做复杂解析）
     * 2) 仅置位 pending，实际寄存器写入延后到 HRTIM 固定相位执行
     */
    {
      uint16_t rx_len = 0U;

      if (BLE_FetchRxFrame(g_ble_rx_parse_buf, (uint16_t)sizeof(g_ble_rx_parse_buf), &rx_len) != 0U)
      {
        SensorParam_QueueFromBleRx(g_ble_rx_parse_buf, rx_len);
      }
    }

    /* USB 发送路径按需求停用，保留旧逻辑便于快速回滚。 */
    #if 0
    {
      uint16_t rx_len = 0U;
      if (BLE_FetchRxFrame(g_ble_to_usb_buf, (uint16_t)sizeof(g_ble_to_usb_buf), &rx_len) != 0U)
      {
        if (rx_len > 0U)
        {
          (void)CDC_Transmit_FS2((uint8_t *)g_ble_to_usb_tag,
                                 (uint16_t)(sizeof(g_ble_to_usb_tag) - 1U));
          (void)CDC_Transmit_FS2(g_ble_to_usb_buf, rx_len);
          (void)CDC_Transmit_FS2((uint8_t *)g_ble_to_usb_eol,
                                 (uint16_t)(sizeof(g_ble_to_usb_eol) - 1U));
        }
      }
    }
    #endif

    /* 每秒 check 发送已按需求移除（旧逻辑见上方 #if 0 变量定义）。 */
  }
  /* USER CODE END 3 */
}

void SystemClock_Config(void)
{
  RCC_OscInitTypeDef RCC_OscInitStruct = {0};
  RCC_ClkInitTypeDef RCC_ClkInitStruct = {0};

  /** Configure the main internal regulator output voltage
  */
  HAL_PWREx_ControlVoltageScaling(PWR_REGULATOR_VOLTAGE_SCALE1);

  /** Initializes the RCC Oscillators according to the specified parameters
  * in the RCC_OscInitTypeDef structure.
  */
  RCC_OscInitStruct.OscillatorType = RCC_OSCILLATORTYPE_HSI48|RCC_OSCILLATORTYPE_HSE;
  RCC_OscInitStruct.HSEState = RCC_HSE_BYPASS;
  RCC_OscInitStruct.HSI48State = RCC_HSI48_ON;
  RCC_OscInitStruct.PLL.PLLState = RCC_PLL_ON;
  RCC_OscInitStruct.PLL.PLLSource = RCC_PLLSOURCE_HSE;
  RCC_OscInitStruct.PLL.PLLM = RCC_PLLM_DIV6;
  RCC_OscInitStruct.PLL.PLLN = 50;
  RCC_OscInitStruct.PLL.PLLP = RCC_PLLP_DIV2;
  RCC_OscInitStruct.PLL.PLLQ = RCC_PLLQ_DIV6;
  RCC_OscInitStruct.PLL.PLLR = RCC_PLLR_DIV2;
  if (HAL_RCC_OscConfig(&RCC_OscInitStruct) != HAL_OK)
  {
    Error_Handler();
  }

  /** Initializes the CPU, AHB and APB buses clocks
  */
  RCC_ClkInitStruct.ClockType = RCC_CLOCKTYPE_HCLK|RCC_CLOCKTYPE_SYSCLK
                              |RCC_CLOCKTYPE_PCLK1|RCC_CLOCKTYPE_PCLK2;
  RCC_ClkInitStruct.SYSCLKSource = RCC_SYSCLKSOURCE_PLLCLK;
  RCC_ClkInitStruct.AHBCLKDivider = RCC_SYSCLK_DIV1;
  RCC_ClkInitStruct.APB1CLKDivider = RCC_HCLK_DIV1;
  RCC_ClkInitStruct.APB2CLKDivider = RCC_HCLK_DIV2;

  if (HAL_RCC_ClockConfig(&RCC_ClkInitStruct, FLASH_LATENCY_3) != HAL_OK)
  {
    Error_Handler();
  }
}

/* USER CODE BEGIN 4 */
void HAL_TIM_PeriodElapsedCallback(TIM_HandleTypeDef *htim)
{
  if (htim->Instance == TIM1)
  {
    /* TIM1 仅作为 HRTIM 同步触发基准；软件侧无需额外处理。 */
  }
}

/*
 * Master CMP4 是 4 相位状态机的“相位提交点”：
 * - 结算当前相位 ADC 结果并轮转桥臂；
 * - 正常情况下按相位触发 PPG/MIMU 读取；
 * - 若检测到新参数，在 phase1/phase2 改为写配置，不读传感器；
 * - phase4 结束后通知主循环提交本组帧（配置周期内该帧为全0）。
 */
void HAL_HRTIM_Compare4EventCallback(HRTIM_HandleTypeDef *hhrtim, uint32_t TimerIdx)
{
  uint8_t phase_before_rotate;

  if ((hhrtim != &hhrtim1) || (TimerIdx != HRTIM_TIMERINDEX_MASTER))
  {
    return;
  }

  phase_before_rotate = g_tim_group_phase;

  /* 事件4：归档本周期 3+3 脉冲采样结果，并切换到下一桥臂状态。 */
  ADC_FinalizeStateAndRotateBridge();

  if (phase_before_rotate == 1U)
  {
    /*
     * 状态机1：
     * - 正常：触发 PPG 指针读取
     * - 收到参数：进入“配置应用周期”，写 MAX30101 参数并清 ADC 累加器
     */
    if (g_sensor_param_pending != 0U)
    {
      g_sensor_cfg_apply_cycle_active = 1U;
      g_sensor_drop_pipeline_once = 1U;
#if (APP_ENABLE_PPG_INIT != 0U)
      /* 先写 PPG 参数；失败仅置错误标记，不打断状态机。 */
      g_sensor_cfg_apply_error = (SensorParam_ApplyPPG(g_sensor_param_pending_buf) == 0U) ? 1U : 0U;
#else
      g_sensor_cfg_apply_error = 0U;
#endif
      ADC_ResetCycleAccumulator();
      (void)memset(&g_group_frame, 0, sizeof(g_group_frame));
    }
    else if (g_sensor_cfg_apply_cycle_active == 0U)
    {
#if (APP_ENABLE_PPG_SAMPLE != 0U)
      (void)MAX30101_TriggerPointerRead_IT();
#endif
    }
  }
  else if (phase_before_rotate == 2U)
  {
    /*
     * 状态机2：
     * - 正常：触发 MIMU 读取
     * - 配置周期：写 IMU 量程、清 pending 标志，并启动 100 周期禁发窗口
     */
    if (g_sensor_cfg_apply_cycle_active != 0U)
    {
      if (SensorParam_ApplyIMU(g_sensor_param_pending_buf) != HAL_OK)
      {
        /* IMU 参数写失败同样只置位，防止打乱既定采样节拍。 */
        g_sensor_cfg_apply_error = 1U;
      }
      /* 2/2 写完后清 pending，并进入“继续采样但禁发”窗口。 */
      g_sensor_param_pending = 0U;
      g_sensor_send_hold_countdown = SENSOR_SEND_HOLD_CYCLES;
    }
    else
    {
      (void)LSM9DS1_TriggerRead_IT();
    }
  }
  else if (phase_before_rotate == 4U)
  {
    if (g_sensor_cfg_apply_cycle_active != 0U)
    {
      /* 配置应用周期内，state4 提交前再次确保组帧全零。 */
      (void)memset(&g_group_frame, 0, sizeof(g_group_frame));
    }
    /* 状态机4：当前4相位完成，通知主循环融合并发送。 */
    g_group_frame_ready_for_send = 1U;
  }
}

void ADC_OnFallingEdgeTrigger(HRTIM_HandleTypeDef *hhrtim, uint32_t TimerIdx)
{
  int32_t code = 0;
  uint8_t slot;

  if ((hhrtim == &hhrtim1) && (TimerIdx == HRTIM_TIMERINDEX_TIMER_A))
  {
    if (g_sensor_cfg_apply_cycle_active != 0U)
    {
      /* 配置应用周期内禁用 AD4007 采样触发，确保本周期 ADC 也记零。 */
      return;
    }

    /* TA2 reset：对应 CNV 下降沿，立即执行单帧 LL 阻塞读取。 */
    if (g_adc_pulse_start_index < 6U)
    {
      slot = g_adc_pulse_start_index;
      g_adc_slot_codes[slot] = 0;
      g_adc_slot_valid_mask &= (uint8_t)~(uint8_t)(1U << slot);

      if (AD4007_ReadBlocking_LL(&code) == HAL_OK)
      {
        g_adc_slot_codes[slot] = code;
        g_adc_slot_valid_mask |= (uint8_t)(1U << slot);
      }

      /* 每个物理 CNV 脉冲固定映射到一个 slot，失败也必须推进。 */
      g_adc_pulse_start_index++;
    }
  }
}

/* USER CODE END 4 */

void Error_Handler(void)
{
  __disable_irq();
  while (1)
  {
  }
}
